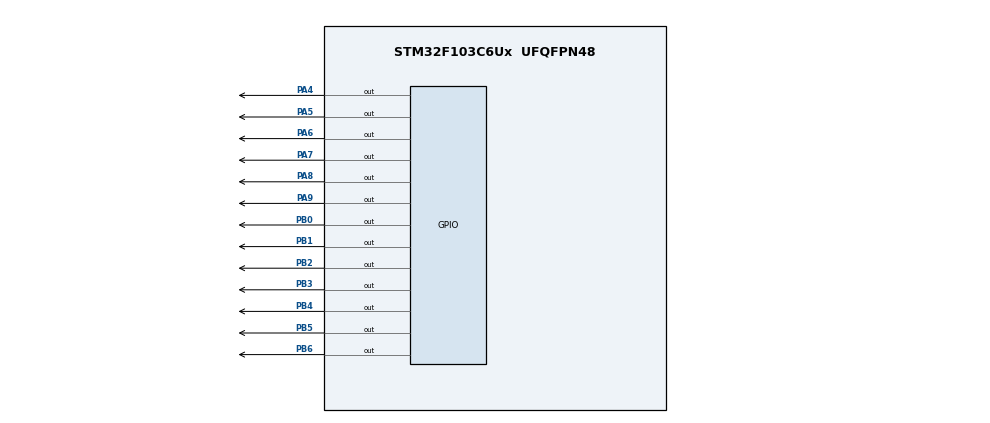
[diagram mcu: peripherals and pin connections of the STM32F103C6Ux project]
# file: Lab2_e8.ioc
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Mcu.Family=STM32F1
Mcu.Name=STM32F103C6Ux
Mcu.Package=UFQFPN48
NVIC.PriorityGroup=NVIC_PRIORITYGROUP_4
NVIC.TIM2_IRQn=true\:0\:0\:false\:false\:true\:true\:true
PA4.PinState=GPIO_PIN_SET
PA4.Signal=GPIO_Output
PA5.PinState=GPIO_PIN_SET
PA5.Signal=GPIO_Output
PA6.PinState=GPIO_PIN_SET
PA6.Signal=GPIO_Output
PA7.PinState=GPIO_PIN_SET
PA7.Signal=GPIO_Output
PA8.PinState=GPIO_PIN_SET
PA8.Signal=GPIO_Output
PA9.PinState=GPIO_PIN_SET
PA9.Signal=GPIO_Output
PB0.PinState=GPIO_PIN_SET
PB0.Signal=GPIO_Output
PB1.PinState=GPIO_PIN_SET
PB1.Signal=GPIO_Output
PB2.PinState=GPIO_PIN_SET
PB2.Signal=GPIO_Output
PB3.PinState=GPIO_PIN_SET
PB3.Signal=GPIO_Output
PB4.PinState=GPIO_PIN_SET
PB4.Signal=GPIO_Output
PB5.PinState=GPIO_PIN_SET
PB5.Signal=GPIO_Output
PB6.PinState=GPIO_PIN_SET
PB6.Signal=GPIO_Output
ProjectManager.HeapSize=0x200
ProjectManager.StackSize=0x400
ProjectManager.TargetToolchain=STM32CubeIDE
RCC.APB1Freq_Value=8000000
RCC.APB2Freq_Value=8000000
TIM2.Period=9
TIM2.Prescaler=7999
VP_SYS_VS_ND.Mode=No_Debug
VP_TIM2_VS_ClockSourceINT.Mode=Internal
board=custom

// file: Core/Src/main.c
/* USER CODE BEGIN Header */
/**
  ******************************************************************************
  * @file           : main.c
  * @brief          : Main program body
  ******************************************************************************
  * @attention
  *
  * <h2><center>&copy; Copyright (c) 2026 STMicroelectronics.
  * All rights reserved.</center></h2>
  *
  * This software component is licensed by ST under BSD 3-Clause license,
  * the "License"; You may not use this file except in compliance with the
  * License. You may obtain a copy of the License at:
  *                        opensource.org/licenses/BSD-3-Clause
  *
  ******************************************************************************
  */
/* USER CODE END Header */
#include "main.h"

/* USER CODE BEGIN PD */

#define SEG_A_PIN                  GPIO_PIN_0
#define SEG_B_PIN                  GPIO_PIN_1
#define SEG_C_PIN                  GPIO_PIN_2
#define SEG_D_PIN                  GPIO_PIN_3
#define SEG_E_PIN                  GPIO_PIN_4
#define SEG_F_PIN                  GPIO_PIN_5
#define SEG_G_PIN                  GPIO_PIN_6
#define SEGMENT_GPIO_PORT          GPIOB

#define SEGMENT_PINS              (SEG_A_PIN | SEG_B_PIN | SEG_C_PIN | \
                                   SEG_D_PIN | SEG_E_PIN | SEG_F_PIN | \
                                   SEG_G_PIN)

#define EN0_PIN                    GPIO_PIN_6
#define EN1_PIN                    GPIO_PIN_7
#define EN2_PIN                    GPIO_PIN_8
#define EN3_PIN                    GPIO_PIN_9
#define DIGIT_ENABLE_GPIO_PORT     GPIOA

#define DIGIT_ENABLE_PINS         (EN0_PIN | EN1_PIN | EN2_PIN | EN3_PIN)

#define DOT_PIN                    GPIO_PIN_4
#define DOT_GPIO_PORT              GPIOA

#define AUX_LED_PIN                GPIO_PIN_5
#define AUX_LED_GPIO_PORT          GPIOA

#define MAX_DIGITS                 4U
#define DIGIT_SLOT_MS              250
#define TIMER_CYCLE                10

/* USER CODE END PD */

TIM_HandleTypeDef htim2;

/* USER CODE BEGIN PV */

const int MAX_LED = 4;
volatile int index_led = 0;
volatile int led_buffer[4] = {0, 0, 0, 0};

int hour = 15;
int minute = 8;
int second = 50;

volatile int timer0_counter = 0;
volatile int timer0_flag = 0;
volatile int timer1_counter = 0;
volatile int timer1_flag = 0;

/* USER CODE END PV */

void SystemClock_Config(void);
static void MX_GPIO_Init(void);
static void MX_TIM2_Init(void);
/* USER CODE BEGIN PFP */

static void disableAllDigits(void);
static void selectDigit(uint8_t index);
void display7SEG(int num);
void update7SEG(int index);
void updateClockBuffer(void);
void setTimer0(int duration);
void setTimer1(int duration);
void timer_run(void);

/* USER CODE END PFP */

/* USER CODE BEGIN 0 */

static void disableAllDigits(void)
{
  HAL_GPIO_WritePin(DIGIT_ENABLE_GPIO_PORT,
                    DIGIT_ENABLE_PINS,
                    GPIO_PIN_SET);
}

static void selectDigit(uint8_t index)
{
  static const uint16_t enable_pins[MAX_DIGITS] =
  {
    EN0_PIN,
    EN1_PIN,
    EN2_PIN,
    EN3_PIN
  };

  if (index < MAX_DIGITS)
  {
    HAL_GPIO_WritePin(DIGIT_ENABLE_GPIO_PORT,
                      enable_pins[index],
                      GPIO_PIN_RESET);
  }
}

void display7SEG(int num)
{
  static const uint16_t digit_pattern[10] =
  {
    0x3FU,
    0x06U,
    0x5BU,
    0x4FU,
    0x66U,
    0x6DU,
    0x7DU,
    0x07U,
    0x7FU,
    0x6FU
  };

  uint16_t on_pins;
  uint16_t off_pins;

  if ((num < 0) || (num > 9))
  {
    HAL_GPIO_WritePin(SEGMENT_GPIO_PORT,
                      SEGMENT_PINS,
                      GPIO_PIN_SET);
    return;
  }

  on_pins = digit_pattern[num] & SEGMENT_PINS;
  off_pins = SEGMENT_PINS & (uint16_t)(~on_pins);

  SEGMENT_GPIO_PORT->BSRR =
      (uint32_t)off_pins |
      ((uint32_t)on_pins << 16U);
}

void update7SEG(int index)
{
  disableAllDigits();

  switch (index)
  {
    case 0:
      display7SEG(led_buffer[0]);
      selectDigit(0U);
      break;

    case 1:
      display7SEG(led_buffer[1]);
      selectDigit(1U);
      break;

    case 2:
      display7SEG(led_buffer[2]);
      selectDigit(2U);
      break;

    case 3:
      display7SEG(led_buffer[3]);
      selectDigit(3U);
      break;

    default:
      break;
  }
}

void updateClockBuffer(void)
{
  led_buffer[0] = hour / 10;
  led_buffer[1] = hour % 10;
  led_buffer[2] = minute / 10;
  led_buffer[3] = minute % 10;
}

void setTimer0(int duration)
{
  timer0_counter = duration / TIMER_CYCLE;
  timer0_flag = 0;
}

void setTimer1(int duration)
{
  timer1_counter = duration / TIMER_CYCLE;
  timer1_flag = 0;
}

void timer_run(void)
{
  if (timer0_counter > 0)
  {
    timer0_counter--;
  }

  if (timer0_counter == 0)
  {
    timer0_flag = 1;
  }

  if (timer1_counter > 0)
  {
    timer1_counter--;
  }

  if (timer1_counter == 0)
  {
    timer1_flag = 1;
  }
}

/* USER CODE END 0 */

int main(void)
{

  /* MCU Configuration--------------------------------------------------------*/

  /* Reset of all peripherals, Initializes the Flash interface and the Systick. */
  HAL_Init();

  /* Configure the system clock */
  SystemClock_Config();

  /* Initialize all configured peripherals */
  MX_GPIO_Init();
  MX_TIM2_Init();
  /* USER CODE BEGIN 2 */

  index_led = 0;

  HAL_GPIO_WritePin(AUX_LED_GPIO_PORT,
                    AUX_LED_PIN,
                    GPIO_PIN_SET);

  HAL_GPIO_WritePin(DOT_GPIO_PORT,
                    DOT_PIN,
                    GPIO_PIN_SET);

  updateClockBuffer();
  update7SEG(index_led);

  index_led++;

  if (index_led >= MAX_LED)
  {
    index_led = 0;
  }

  setTimer0(1000);
  setTimer1(DIGIT_SLOT_MS);

  if (HAL_TIM_Base_Start_IT(&htim2) != HAL_OK)
  {
    Error_Handler();
  }

  /* USER CODE END 2 */

  /* Infinite loop */
  while (1)
  {

    /* USER CODE BEGIN 3 */

    if (timer0_flag == 1)
    {
      second++;

      if (second >= 60)
      {
        second = 0;
        minute++;
      }

      if (minute >= 60)
      {
        minute = 0;
        hour++;
      }

      if (hour >= 24)
      {
        hour = 0;
      }

      updateClockBuffer();
      HAL_GPIO_TogglePin(DOT_GPIO_PORT, DOT_PIN);
      setTimer0(1000);
    }

    if (timer1_flag == 1)
    {
      update7SEG(index_led);

      index_led++;

      if (index_led >= MAX_LED)
      {
        index_led = 0;
      }

      setTimer1(DIGIT_SLOT_MS);
    }
  }
  /* USER CODE END 3 */
}

void SystemClock_Config(void)
{
  RCC_OscInitTypeDef RCC_OscInitStruct = {0};
  RCC_ClkInitTypeDef RCC_ClkInitStruct = {0};

  /** Initializes the RCC Oscillators according to the specified parameters
  * in the RCC_OscInitTypeDef structure.
  */
  RCC_OscInitStruct.OscillatorType = RCC_OSCILLATORTYPE_HSI;
  RCC_OscInitStruct.HSIState = RCC_HSI_ON;
  RCC_OscInitStruct.HSICalibrationValue = RCC_HSICALIBRATION_DEFAULT;
  RCC_OscInitStruct.PLL.PLLState = RCC_PLL_NONE;
  if (HAL_RCC_OscConfig(&RCC_OscInitStruct) != HAL_OK)
  {
    Error_Handler();
  }
  /** Initializes the CPU, AHB and APB buses clocks
  */
  RCC_ClkInitStruct.ClockType = RCC_CLOCKTYPE_HCLK|RCC_CLOCKTYPE_SYSCLK
                              |RCC_CLOCKTYPE_PCLK1|RCC_CLOCKTYPE_PCLK2;
  RCC_ClkInitStruct.SYSCLKSource = RCC_SYSCLKSOURCE_HSI;
  RCC_ClkInitStruct.AHBCLKDivider = RCC_SYSCLK_DIV1;
  RCC_ClkInitStruct.APB1CLKDivider = RCC_HCLK_DIV1;
  RCC_ClkInitStruct.APB2CLKDivider = RCC_HCLK_DIV1;

  if (HAL_RCC_ClockConfig(&RCC_ClkInitStruct, FLASH_LATENCY_0) != HAL_OK)
  {
    Error_Handler();
  }
}

static void MX_TIM2_Init(void)
{

  TIM_ClockConfigTypeDef sClockSourceConfig = {0};
  TIM_MasterConfigTypeDef sMasterConfig = {0};

  htim2.Instance = TIM2;
  htim2.Init.Prescaler = 7999;
  htim2.Init.CounterMode = TIM_COUNTERMODE_UP;
  htim2.Init.Period = 9;
  htim2.Init.ClockDivision = TIM_CLOCKDIVISION_DIV1;
  htim2.Init.AutoReloadPreload = TIM_AUTORELOAD_PRELOAD_DISABLE;
  if (HAL_TIM_Base_Init(&htim2) != HAL_OK)
  {
    Error_Handler();
  }
  sClockSourceConfig.ClockSource = TIM_CLOCKSOURCE_INTERNAL;
  if (HAL_TIM_ConfigClockSource(&htim2, &sClockSourceConfig) != HAL_OK)
  {
    Error_Handler();
  }
  sMasterConfig.MasterOutputTrigger = TIM_TRGO_RESET;
  sMasterConfig.MasterSlaveMode = TIM_MASTERSLAVEMODE_DISABLE;
  if (HAL_TIMEx_MasterConfigSynchronization(&htim2, &sMasterConfig) != HAL_OK)
  {
    Error_Handler();
  }

}

static void MX_GPIO_Init(void)
{
  GPIO_InitTypeDef GPIO_InitStruct = {0};

  /* GPIO Ports Clock Enable */
  __HAL_RCC_GPIOA_CLK_ENABLE();
  __HAL_RCC_GPIOB_CLK_ENABLE();

  /*Configure GPIO pin Output Level */
  HAL_GPIO_WritePin(GPIOA, GPIO_PIN_4|GPIO_PIN_5|GPIO_PIN_6|GPIO_PIN_7
                          |GPIO_PIN_8|GPIO_PIN_9, GPIO_PIN_SET);

  /*Configure GPIO pin Output Level */
  HAL_GPIO_WritePin(GPIOB, GPIO_PIN_0|GPIO_PIN_1|GPIO_PIN_2|GPIO_PIN_3
                          |GPIO_PIN_4|GPIO_PIN_5|GPIO_PIN_6, GPIO_PIN_SET);

  /*Configure GPIO pins : PA4 PA5 PA6 PA7
                           PA8 PA9 */
  GPIO_InitStruct.Pin = GPIO_PIN_4|GPIO_PIN_5|GPIO_PIN_6|GPIO_PIN_7
                          |GPIO_PIN_8|GPIO_PIN_9;
  GPIO_InitStruct.Mode = GPIO_MODE_OUTPUT_PP;
  GPIO_InitStruct.Pull = GPIO_NOPULL;
  GPIO_InitStruct.Speed = GPIO_SPEED_FREQ_LOW;
  HAL_GPIO_Init(GPIOA, &GPIO_InitStruct);

  /*Configure GPIO pins : PB0 PB1 PB2 PB3
                           PB4 PB5 PB6 */
  GPIO_InitStruct.Pin = GPIO_PIN_0|GPIO_PIN_1|GPIO_PIN_2|GPIO_PIN_3
                          |GPIO_PIN_4|GPIO_PIN_5|GPIO_PIN_6;
  GPIO_InitStruct.Mode = GPIO_MODE_OUTPUT_PP;
  GPIO_InitStruct.Pull = GPIO_NOPULL;
  GPIO_InitStruct.Speed = GPIO_SPEED_FREQ_LOW;
  HAL_GPIO_Init(GPIOB, &GPIO_InitStruct);

}

/* USER CODE BEGIN 4 */

void HAL_TIM_PeriodElapsedCallback(TIM_HandleTypeDef *htim)
{
  if (htim->Instance != TIM2)
  {
    return;
  }

  timer_run();
}

/* USER CODE END 4 */

void Error_Handler(void)
{
  __disable_irq();
  while (1)
  {
  }
}

/************************ (C) COPYRIGHT STMicroelectronics *****END OF FILE****/
